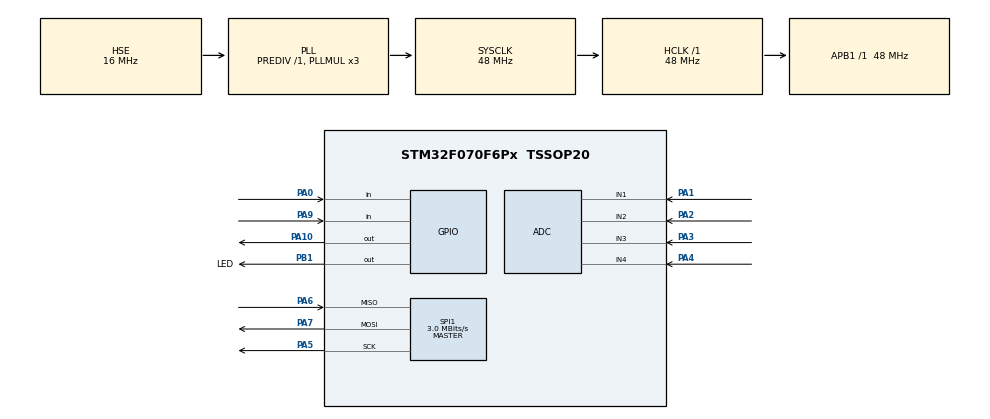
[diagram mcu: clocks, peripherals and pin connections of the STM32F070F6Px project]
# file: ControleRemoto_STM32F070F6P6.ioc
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ADC.ClockPrescaler=ADC_CLOCK_SYNC_PCLK_DIV4
ADC.ContinuousConvMode=ENABLE
ADC.DMAContinuousRequests=ENABLE
ADC.SamplingTime=ADC_SAMPLETIME_239CYCLES_5
Dma.ADC.0.Direction=DMA_PERIPH_TO_MEMORY
Dma.ADC.0.Instance=DMA1_Channel1
Dma.ADC.0.MemDataAlignment=DMA_MDATAALIGN_HALFWORD
Dma.ADC.0.MemInc=DMA_MINC_ENABLE
Dma.ADC.0.Mode=DMA_CIRCULAR
Dma.ADC.0.PeriphDataAlignment=DMA_PDATAALIGN_HALFWORD
Dma.ADC.0.PeriphInc=DMA_PINC_DISABLE
Dma.ADC.0.Priority=DMA_PRIORITY_MEDIUM
Dma.Request0=ADC
Mcu.Family=STM32F0
Mcu.Name=STM32F070F6Px
Mcu.Package=TSSOP20
NVIC.DMA1_Channel1_IRQn=true\:0\:0\:false\:false\:true\:false\:true\:true
PA0.Signal=GPIO_Input
PA1.Signal=SharedAnalog_PA1
PA10.Signal=GPIO_Output
PA13.Mode=Serial_Wire
PA13.Signal=SYS_SWDIO
PA14.Mode=Serial_Wire
PA14.Signal=SYS_SWCLK
PA2.Signal=SharedAnalog_PA2
PA3.Signal=SharedAnalog_PA3
PA4.Signal=SharedAnalog_PA4
PA5.Mode=Full_Duplex_Master
PA5.Signal=SPI1_SCK
PA6.Mode=Full_Duplex_Master
PA6.Signal=SPI1_MISO
PA7.Mode=Full_Duplex_Master
PA7.Signal=SPI1_MOSI
PA9.Signal=GPIO_Input
PB1.GPIO_Label=LED
PB1.Signal=GPIO_Output
PF0-OSC_IN.Mode=HSE-External-Oscillator
PF0-OSC_IN.Signal=RCC_OSC_IN
PF1-OSC_OUT.Mode=HSE-External-Oscillator
PF1-OSC_OUT.Signal=RCC_OSC_OUT
ProjectManager.HeapSize=0x200
ProjectManager.StackSize=0x400
ProjectManager.TargetToolchain=STM32CubeIDE
RCC.AHBFreq_Value=48000000
RCC.APB1Freq_Value=48000000
RCC.APB1TimFreq_Value=48000000
RCC.HCLKFreq_Value=48000000
RCC.HSE_VALUE=16000000
RCC.PLLMUL=RCC_PLL_MUL3
RCC.PLLSourceVirtual=RCC_PLLSOURCE_HSE
RCC.SYSCLKFreq_VALUE=48000000
RCC.SYSCLKSource=RCC_SYSCLKSOURCE_PLLCLK
SH.SharedAnalog_PA1.0=GPIO_Analog
SH.SharedAnalog_PA1.1=ADC_IN1,IN1
SH.SharedAnalog_PA2.0=GPIO_Analog
SH.SharedAnalog_PA2.1=ADC_IN2,IN2
SH.SharedAnalog_PA3.0=GPIO_Analog
SH.SharedAnalog_PA3.1=ADC_IN3,IN3
SH.SharedAnalog_PA4.0=GPIO_Analog
SH.SharedAnalog_PA4.1=ADC_IN4,IN4
SPI1.BaudRatePrescaler=SPI_BAUDRATEPRESCALER_16
SPI1.CalculateBaudRate=3.0 MBits/s
SPI1.Direction=SPI_DIRECTION_2LINES
SPI1.Mode=SPI_MODE_MASTER
SPI1.VirtualType=VM_MASTER
board=custom

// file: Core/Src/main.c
/* USER CODE BEGIN Header */
/**
  ******************************************************************************
  * @file           : main.c
  * @brief          : Main program body
  ******************************************************************************
  * @attention
  *
  * Copyright (c) 2024 STMicroelectronics.
  * All rights reserved.
  *
  * This software is licensed under terms that can be found in the LICENSE file
  * in the root directory of this software component.
  * If no LICENSE file comes with this software, it is provided AS-IS.
  *
  ******************************************************************************
  */
/* USER CODE END Header */
#include "main.h"

/* USER CODE BEGIN Includes */
#include "NRF24L01.h"
/* USER CODE END Includes */

ADC_HandleTypeDef hadc;
DMA_HandleTypeDef hdma_adc;

SPI_HandleTypeDef hspi1;

/* USER CODE BEGIN PV */
uint8_t TxAddress[] = {0xEE, 0xDD, 0xCC, 0xBB, 0xAA};
uint32_t h[4]; // Array com os valores analógicos de cada eixo do joystick

// Struct que representa o pacote de dados do controle
typedef struct {
    int8_t joy1_x;  // Eixo X do joystick 1 (ex: giro)
    int8_t joy1_y;  // Eixo Y do joystick 1 (ex: frente/trás)
    int8_t joy2_x;  // Eixo X do joystick 2 (ex: direção)
    int8_t joy2_y;  // Eixo Y do joystick 2 (ex: subida/descida ou outro controle)
} JoystickData;

// Instância da struct a ser enviada
JoystickData joy;

/**
 * @brief Converte valor ADC (0-) para intervalo proporcional -100 a +100
 *        Centro do joystick (em repouso) deve estar próximo de 2048
 * @param adc_val Valor de 0 a 3000 vindo do ADC
 * @return int8_t Valor entre -100 e +100
 */

int8_t map_adc_to_percent(uint32_t adc_val) {
    return (int8_t)(((int32_t)adc_val - 2048) * 100 / 2048);
}

/* USER CODE END PV */

void SystemClock_Config(void);
static void MX_GPIO_Init(void);
static void MX_DMA_Init(void);
static void MX_ADC_Init(void);
static void MX_SPI1_Init(void);

/* USER CODE BEGIN 0 */

/*---------------BEGIN-DRONE--------------------------------------------------
uint8_t TxAddress[] = {0xEE, 0xDD, 0xCC, 0xBB, 0xAA};
uint8_t frente[] = "frente";
uint8_t tras[] = "tras";
uint8_t direita[] = "direita";
uint8_t esquerda[] = "esquerda";
uint8_t cima[] = "cima";
uint8_t baixo[] = "baixo";
uint8_t giroesq[] = "giroesq";
uint8_t girodir[] = "girodir";
----------------------END-DRONE------------------------------------------------*/
/* USER CODE END 0 */

int main(void)
{

  /* MCU Configuration--------------------------------------------------------*/

  /* Reset of all peripherals, Initializes the Flash interface and the Systick. */
  HAL_Init();

  /* Configure the system clock */
  SystemClock_Config();

  /* Initialize all configured peripherals */
  MX_GPIO_Init();
  MX_DMA_Init();
  MX_ADC_Init();
  MX_SPI1_Init();
  /* USER CODE BEGIN 2 */
  NRF24_Init();
  HAL_Delay(5);

  NRF24_TxMode(TxAddress, 10);
  HAL_ADC_Start_DMA(&hadc, h, 4);
  /* USER CODE END 2 */

  /* Infinite loop */
  /* USER CODE BEGIN WHILE */
  while (1)
  {	  HAL_GPIO_WritePin(GPIOB, GPIO_PIN_1, SET);
	  // Mapeia valores do ADC para -100 a +100
	  joy.joy1_x = h[0];
	  joy.joy1_y = h[1];
	  joy.joy2_x = h[2];
	  joy.joy2_y = h[3];

	  //if (joy.joy2_x <= 800 /*|| joy.joy1_x <= 900*/){HAL_GPIO_TogglePin(GPIOB, GPIO_PIN_1); HAL_Delay(1000);}

	  //else if (joy.joy2_y > 1 || joy.joy1_y > 1){HAL_GPIO_TogglePin(GPIOB, GPIO_PIN_1); HAL_Delay(500);}

	  //else if (joy.joy2_x < 1 || joy.joy1_x < 1){HAL_GPIO_TogglePin(GPIOB, GPIO_PIN_1); HAL_Delay(500);}

	  //else if (joy.joy2_x < 1 || joy.joy1_x < 1){HAL_GPIO_TogglePin(GPIOB, GPIO_PIN_1); HAL_Delay(500);}

	  if(NRF24_Transmit((uint8_t*)&joy) == 1){
		  /*HAL_GPIO_WritePin(GPIOB, GPIO_PIN_1, RESET);
		  HAL_Delay(500);
		  HAL_GPIO_WritePin(GPIOB, GPIO_PIN_1, SET);*/
	  }

	  // Envia apenas se PA0 (botão) estiver pressionado
	  /*if (HAL_GPIO_ReadPin(GPIOA, GPIO_PIN_0) == GPIO_PIN_SET) {
		  NRF24_Transmit((uint8_t*)&joy);
		  HAL_GPIO_TogglePin(GPIOB, GPIO_PIN_1); // LED debug
	  }*/

	  HAL_Delay(50);

  }
    /* USER CODE END WHILE */

    /* USER CODE BEGIN 3 */

/*-------------------------------BEGIN-DRONE----------------------------------
	  if(h[2] >= 3000){
		  	  if(NRF24_Transmit(frente) == 1){
		  			  HAL_GPIO_TogglePin(GPIOB,GPIO_PIN_1);
		  			  HAL_Delay(1000);
		  }
	  }
	  if(h[2] <= 1000){
	  		  if(NRF24_Transmit(tras) == 1){
	  		  			  HAL_GPIO_TogglePin(GPIOB,GPIO_PIN_1);
	  		  			  HAL_Delay(500);
	  		  }
	  	  }
	  if(h[3] >= 3000){
	  		  if(NRF24_Transmit(direita) == 1){
	  			  HAL_GPIO_WritePin(GPIOB,GPIO_PIN_1, GPIO_PIN_SET);
	  			  HAL_Delay(500);
	  	 }
	  }
	  if(h[3] <= 1000){
	  		 if(NRF24_Transmit(esquerda) == 1){
	  			 HAL_GPIO_WritePin(GPIOB,GPIO_PIN_1, GPIO_PIN_RESET);
	  			 HAL_Delay(500);
	  	 }
	  	  }

*/

  /*if(h[0] >= 3000){
  		  	  if(NRF24_Transmit(frente) == 1){
  		  			  HAL_GPIO_TogglePin(GPIOB,GPIO_PIN_1);
  		  			  HAL_Delay(1000);
  		  }
  	  }*/
/*
  if(h[0] <= 1000){
  	  		  if(NRF24_Transmit(tras) == 1){
  	  		  			  HAL_GPIO_TogglePin(GPIOB,GPIO_PIN_1);
  	  		  			  HAL_Delay(500);
  	  		  }
  	  	  }
  if(h[1] >= 3000){
  	  		  if(NRF24_Transmit(girodir) == 1){
  	  			  HAL_GPIO_WritePin(GPIOB,GPIO_PIN_1, GPIO_PIN_SET);
  	  			  HAL_Delay(500);
  	  	 }
  	  }
  if(h[1] <= 1000){
  	  		 if(NRF24_Transmit(giroesq) == 1){
  	  			 HAL_GPIO_WritePin(GPIOB,GPIO_PIN_1, GPIO_PIN_RESET);
  	  			 HAL_Delay(500);
  	  	 }
  	  	  }
-------------------------------END-DRONE----------------------------------*/

  /* USER CODE END 3 */
}

void SystemClock_Config(void)
{
  RCC_OscInitTypeDef RCC_OscInitStruct = {0};
  RCC_ClkInitTypeDef RCC_ClkInitStruct = {0};

  /** Initializes the RCC Oscillators according to the specified parameters
  * in the RCC_OscInitTypeDef structure.
  */
  RCC_OscInitStruct.OscillatorType = RCC_OSCILLATORTYPE_HSE;
  RCC_OscInitStruct.HSEState = RCC_HSE_ON;
  RCC_OscInitStruct.PLL.PLLState = RCC_PLL_ON;
  RCC_OscInitStruct.PLL.PLLSource = RCC_PLLSOURCE_HSE;
  RCC_OscInitStruct.PLL.PLLMUL = RCC_PLL_MUL3;
  RCC_OscInitStruct.PLL.PREDIV = RCC_PREDIV_DIV1;
  if (HAL_RCC_OscConfig(&RCC_OscInitStruct) != HAL_OK)
  {
    Error_Handler();
  }

  /** Initializes the CPU, AHB and APB buses clocks
  */
  RCC_ClkInitStruct.ClockType = RCC_CLOCKTYPE_HCLK|RCC_CLOCKTYPE_SYSCLK
                              |RCC_CLOCKTYPE_PCLK1;
  RCC_ClkInitStruct.SYSCLKSource = RCC_SYSCLKSOURCE_PLLCLK;
  RCC_ClkInitStruct.AHBCLKDivider = RCC_SYSCLK_DIV1;
  RCC_ClkInitStruct.APB1CLKDivider = RCC_HCLK_DIV1;

  if (HAL_RCC_ClockConfig(&RCC_ClkInitStruct, FLASH_LATENCY_1) != HAL_OK)
  {
    Error_Handler();
  }
}

static void MX_ADC_Init(void)
{

  ADC_ChannelConfTypeDef sConfig = {0};

  /** Configure the global features of the ADC (Clock, Resolution, Data Alignment and number of conversion)
  */
  hadc.Instance = ADC1;
  hadc.Init.ClockPrescaler = ADC_CLOCK_SYNC_PCLK_DIV4;
  hadc.Init.Resolution = ADC_RESOLUTION_12B;
  hadc.Init.DataAlign = ADC_DATAALIGN_RIGHT;
  hadc.Init.ScanConvMode = ADC_SCAN_DIRECTION_FORWARD;
  hadc.Init.EOCSelection = ADC_EOC_SINGLE_CONV;
  hadc.Init.LowPowerAutoWait = DISABLE;
  hadc.Init.LowPowerAutoPowerOff = DISABLE;
  hadc.Init.ContinuousConvMode = ENABLE;
  hadc.Init.DiscontinuousConvMode = DISABLE;
  hadc.Init.ExternalTrigConv = ADC_SOFTWARE_START;
  hadc.Init.ExternalTrigConvEdge = ADC_EXTERNALTRIGCONVEDGE_NONE;
  hadc.Init.DMAContinuousRequests = ENABLE;
  hadc.Init.Overrun = ADC_OVR_DATA_PRESERVED;
  if (HAL_ADC_Init(&hadc) != HAL_OK)
  {
    Error_Handler();
  }

  /** Configure for the selected ADC regular channel to be converted.
  */
  sConfig.Channel = ADC_CHANNEL_1;
  sConfig.Rank = ADC_RANK_CHANNEL_NUMBER;
  sConfig.SamplingTime = ADC_SAMPLETIME_239CYCLES_5;
  if (HAL_ADC_ConfigChannel(&hadc, &sConfig) != HAL_OK)
  {
    Error_Handler();
  }

  /** Configure for the selected ADC regular channel to be converted.
  */
  sConfig.Channel = ADC_CHANNEL_2;
  if (HAL_ADC_ConfigChannel(&hadc, &sConfig) != HAL_OK)
  {
    Error_Handler();
  }

  /** Configure for the selected ADC regular channel to be converted.
  */
  sConfig.Channel = ADC_CHANNEL_3;
  if (HAL_ADC_ConfigChannel(&hadc, &sConfig) != HAL_OK)
  {
    Error_Handler();
  }

  /** Configure for the selected ADC regular channel to be converted.
  */
  sConfig.Channel = ADC_CHANNEL_4;
  if (HAL_ADC_ConfigChannel(&hadc, &sConfig) != HAL_OK)
  {
    Error_Handler();
  }

}

static void MX_SPI1_Init(void)
{

  /* SPI1 parameter configuration*/
  hspi1.Instance = SPI1;
  hspi1.Init.Mode = SPI_MODE_MASTER;
  hspi1.Init.Direction = SPI_DIRECTION_2LINES;
  hspi1.Init.DataSize = SPI_DATASIZE_4BIT;
  hspi1.Init.CLKPolarity = SPI_POLARITY_LOW;
  hspi1.Init.CLKPhase = SPI_PHASE_1EDGE;
  hspi1.Init.NSS = SPI_NSS_SOFT;
  hspi1.Init.BaudRatePrescaler = SPI_BAUDRATEPRESCALER_16;
  hspi1.Init.FirstBit = SPI_FIRSTBIT_MSB;
  hspi1.Init.TIMode = SPI_TIMODE_DISABLE;
  hspi1.Init.CRCCalculation = SPI_CRCCALCULATION_DISABLE;
  hspi1.Init.CRCPolynomial = 7;
  hspi1.Init.CRCLength = SPI_CRC_LENGTH_DATASIZE;
  hspi1.Init.NSSPMode = SPI_NSS_PULSE_ENABLE;
  if (HAL_SPI_Init(&hspi1) != HAL_OK)
  {
    Error_Handler();
  }

}

static void MX_DMA_Init(void)
{

  /* DMA controller clock enable */
  __HAL_RCC_DMA1_CLK_ENABLE();

  /* DMA interrupt init */
  /* DMA1_Channel1_IRQn interrupt configuration */
  HAL_NVIC_SetPriority(DMA1_Channel1_IRQn, 0, 0);
  HAL_NVIC_EnableIRQ(DMA1_Channel1_IRQn);

}

static void MX_GPIO_Init(void)
{
  GPIO_InitTypeDef GPIO_InitStruct = {0};

  /* GPIO Ports Clock Enable */
  __HAL_RCC_GPIOF_CLK_ENABLE();
  __HAL_RCC_GPIOA_CLK_ENABLE();
  __HAL_RCC_GPIOB_CLK_ENABLE();

  /*Configure GPIO pin Output Level */
  HAL_GPIO_WritePin(LED_GPIO_Port, LED_Pin, GPIO_PIN_RESET);

  /*Configure GPIO pin Output Level */
  HAL_GPIO_WritePin(GPIOA, GPIO_PIN_10, GPIO_PIN_RESET);

  /*Configure GPIO pins : PA0 PA9 */
  GPIO_InitStruct.Pin = GPIO_PIN_0|GPIO_PIN_9;
  GPIO_InitStruct.Mode = GPIO_MODE_INPUT;
  GPIO_InitStruct.Pull = GPIO_NOPULL;
  HAL_GPIO_Init(GPIOA, &GPIO_InitStruct);

  /*Configure GPIO pin : LED_Pin */
  GPIO_InitStruct.Pin = LED_Pin;
  GPIO_InitStruct.Mode = GPIO_MODE_OUTPUT_PP;
  GPIO_InitStruct.Pull = GPIO_NOPULL;
  GPIO_InitStruct.Speed = GPIO_SPEED_FREQ_LOW;
  HAL_GPIO_Init(LED_GPIO_Port, &GPIO_InitStruct);

  /*Configure GPIO pin : PA10 */
  GPIO_InitStruct.Pin = GPIO_PIN_10;
  GPIO_InitStruct.Mode = GPIO_MODE_OUTPUT_PP;
  GPIO_InitStruct.Pull = GPIO_NOPULL;
  GPIO_InitStruct.Speed = GPIO_SPEED_FREQ_LOW;
  HAL_GPIO_Init(GPIOA, &GPIO_InitStruct);

}

void Error_Handler(void)
{
  __disable_irq();
  while (1)
  {
  }
}
